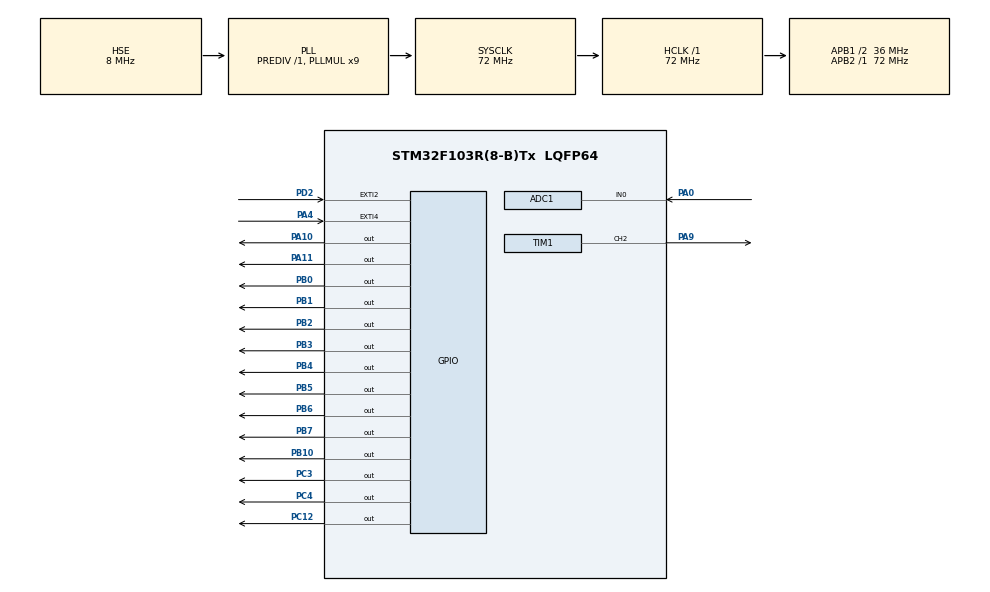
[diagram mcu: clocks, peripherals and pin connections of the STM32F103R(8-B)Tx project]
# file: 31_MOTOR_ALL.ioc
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ADC1.Channel-0\#ChannelRegularConversion=ADC_CHANNEL_0
ADC1.ContinuousConvMode=ENABLE
ADC1.NbrOfConversionFlag=1
ADC1.Rank-0\#ChannelRegularConversion=1
ADC1.SamplingTime-0\#ChannelRegularConversion=ADC_SAMPLETIME_13CYCLES_5
ADC1.master=1
Mcu.Family=STM32F1
Mcu.Name=STM32F103R(8-B)Tx
Mcu.Package=LQFP64
NVIC.EXTI2_IRQn=true\:0\:0\:false\:false\:true\:true\:true\:true
NVIC.EXTI4_IRQn=true\:0\:0\:false\:false\:true\:true\:true\:true
NVIC.PriorityGroup=NVIC_PRIORITYGROUP_4
PA0-WKUP.Signal=ADCx_IN0
PA10.Signal=GPIO_Output
PA11.Signal=GPIO_Output
PA13.Mode=Serial_Wire
PA13.Signal=SYS_JTMS-SWDIO
PA14.Mode=Serial_Wire
PA14.Signal=SYS_JTCK-SWCLK
PA4.GPIO_ModeDefaultEXTI=GPIO_MODE_IT_FALLING
PA4.Signal=GPXTI4
PA9.Signal=S_TIM1_CH2
PB0.Signal=GPIO_Output
PB1.Signal=GPIO_Output
PB10.Signal=GPIO_Output
PB2.Signal=GPIO_Output
PB3.Signal=GPIO_Output
PB4.Signal=GPIO_Output
PB5.Signal=GPIO_Output
PB6.Signal=GPIO_Output
PB7.Signal=GPIO_Output
PC12.Signal=GPIO_Output
PC14-OSC32_IN.Mode=LSE-External-Oscillator
PC14-OSC32_IN.Signal=RCC_OSC32_IN
PC15-OSC32_OUT.Mode=LSE-External-Oscillator
PC15-OSC32_OUT.Signal=RCC_OSC32_OUT
PC3.Signal=GPIO_Output
PC4.Signal=GPIO_Output
PD0-OSC_IN.Mode=HSE-External-Clock-Source
PD0-OSC_IN.Signal=RCC_OSC_IN
PD1-OSC_OUT.Mode=HSE-External-Clock-Source
PD1-OSC_OUT.Signal=RCC_OSC_OUT
PD2.GPIO_ModeDefaultEXTI=GPIO_MODE_IT_FALLING
PD2.Signal=GPXTI2
ProjectManager.HeapSize=0x200
ProjectManager.StackSize=0x400
ProjectManager.TargetToolchain=STM32CubeIDE
RCC.ADCPresc=RCC_ADCPCLK2_DIV6
RCC.AHBFreq_Value=72000000
RCC.APB1CLKDivider=RCC_HCLK_DIV2
RCC.APB1Freq_Value=36000000
RCC.APB1TimFreq_Value=72000000
RCC.APB2Freq_Value=72000000
RCC.APB2TimFreq_Value=72000000
RCC.HCLKFreq_Value=72000000
RCC.PLLMUL=RCC_PLL_MUL9
RCC.PLLSourceVirtual=RCC_PLLSOURCE_HSE
RCC.SYSCLKFreq_VALUE=72000000
RCC.SYSCLKSource=RCC_SYSCLKSOURCE_PLLCLK
RCC.USBFreq_Value=72000000
SH.ADCx_IN0.0=ADC1_IN0,IN0
SH.S_TIM1_CH2.0=TIM1_CH2,PWM Generation2 CH2
TIM1.AutoReloadPreload=TIM_AUTORELOAD_PRELOAD_ENABLE
TIM1.Channel-PWM\ Generation2\ CH2=TIM_CHANNEL_2
TIM1.Period=1000-1
TIM1.Prescaler=72-1
board=custom

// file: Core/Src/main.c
/* USER CODE BEGIN Header */
/**
  ******************************************************************************
  * @file           : main.c
  * @brief          : Main program body
  ******************************************************************************
  * @attention
  *
  * Copyright (c) 2023 STMicroelectronics.
  * All rights reserved.
  *
  * This software is licensed under terms that can be found in the LICENSE file
  * in the root directory of this software component.
  * If no LICENSE file comes with this software, it is provided AS-IS.
  *
  ******************************************************************************
  */
/* USER CODE END Header */
#include "main.h"

/* USER CODE BEGIN PD */
#define MOTOR_STOP 0
#define MOTOR_CW 1
#define MOTOR_CCW 2
/* USER CODE END PD */

ADC_HandleTypeDef hadc1;

TIM_HandleTypeDef htim1;

/* USER CODE BEGIN PV */
uint8_t number[] = {0x3f, 0x06, 0x5b, 0x4f, 0x66, 0x6d, 0x7d, 0x07, 0x7f, 0x67};
uint16_t motor_ccr2, adc_value;
volatile uint8_t motor_state = MOTOR_STOP;
volatile uint8_t cw_counter = 0, ccw_counter = 0;

typedef struct fnd { 	// 구조�?
  GPIO_TypeDef *port;
  uint16_t pin;
} FND;
FND value[8] = {
  {GPIOB, GPIO_PIN_0}, {GPIOB, GPIO_PIN_1},
  {GPIOB, GPIO_PIN_2}, {GPIOB, GPIO_PIN_3},
  {GPIOB, GPIO_PIN_4}, {GPIOB, GPIO_PIN_5},
  {GPIOB, GPIO_PIN_6}, {GPIOB, GPIO_PIN_7}
};
FND sel[4] = {
  {GPIOA, GPIO_PIN_10}, {GPIOA, GPIO_PIN_11},
  {GPIOC, GPIO_PIN_4}, {GPIOC, GPIO_PIN_3}
};
void display_fnd(uint8_t data, uint8_t position, uint32_t time) {  // ?��?��
  int i;
  for (i = 0; i < 4; i++) {
    if(i == position)
      HAL_GPIO_WritePin(sel[i].port, sel[i].pin, 1);
    else
      HAL_GPIO_WritePin(sel[i].port, sel[i].pin, 0);
  }
  for(i = 0; i < 8; i++) {
    if((data & (1 << i)) != 0)
      HAL_GPIO_WritePin(value[i].port, value[i].pin, 1);
    else
      HAL_GPIO_WritePin(value[i].port, value[i].pin, 0);
  }
  HAL_Delay(time);
}

/* USER CODE END PV */

void SystemClock_Config(void);
static void MX_GPIO_Init(void);
static void MX_ADC1_Init(void);
static void MX_TIM1_Init(void);

int main(void)
{

  /* MCU Configuration--------------------------------------------------------*/

  /* Reset of all peripherals, Initializes the Flash interface and the Systick. */
  HAL_Init();

  /* Configure the system clock */
  SystemClock_Config();

  /* Initialize all configured peripherals */
  MX_GPIO_Init();
  MX_ADC1_Init();
  MX_TIM1_Init();
  /* USER CODE BEGIN 2 */
  HAL_TIM_PWM_Start(&htim1, TIM_CHANNEL_2);
  HAL_ADCEx_Calibration_Start(&hadc1);
  HAL_ADC_Start(&hadc1);

  /* USER CODE END 2 */

  /* Infinite loop */
  /* USER CODE BEGIN WHILE */
  while (1)
  {
	  if(HAL_ADC_PollForConversion(&hadc1, 10) == HAL_OK) {
		  adc_value = HAL_ADC_GetValue(&hadc1);
	      if (adc_value < 1000) {
	    	  motor_state = MOTOR_STOP;
	      }
	  }
	  switch (motor_state) {
	  case MOTOR_STOP:
		  HAL_TIM_PWM_Stop(&htim1, TIM_CHANNEL_2);
		  ccw_counter = 0;
		  cw_counter = 0;
		  motor_ccr2 = 0;
		  __HAL_TIM_SET_COMPARE(&htim1, TIM_CHANNEL_2, motor_ccr2);
		  break;
	  case MOTOR_CW:
		  ccw_counter = 0;
		  HAL_GPIO_WritePin(GPIOB, GPIO_PIN_10, 1);
		  HAL_GPIO_WritePin(GPIOC, GPIO_PIN_12, 0);
		  HAL_TIM_PWM_Start(&htim1, TIM_CHANNEL_2);
		  if(cw_counter <= 5) {
			  motor_ccr2 = cw_counter * 100;
			  __HAL_TIM_SET_COMPARE(&htim1, TIM_CHANNEL_2, motor_ccr2);
		  } else {
			  motor_ccr2 = 500;
			  __HAL_TIM_SET_COMPARE(&htim1, TIM_CHANNEL_2, motor_ccr2);
		  }
		  break;
	  case MOTOR_CCW:
		  cw_counter = 0;
		  HAL_GPIO_WritePin(GPIOB, GPIO_PIN_10, 0);
		  HAL_GPIO_WritePin(GPIOC, GPIO_PIN_12, 1);
		  HAL_TIM_PWM_Start(&htim1, TIM_CHANNEL_2);
		  if(ccw_counter <= 5) {
			  motor_ccr2 = ccw_counter * 100;
			  __HAL_TIM_SET_COMPARE(&htim1, TIM_CHANNEL_2, motor_ccr2);
		  } else {
			  motor_ccr2 = 500;
			  __HAL_TIM_SET_COMPARE(&htim1, TIM_CHANNEL_2, motor_ccr2);
		  }
		  break;
	  default:
		  break;
	  }
	  display_fnd(number[motor_ccr2 / 100], 1, 5);
	  display_fnd(number[(motor_ccr2 % 100) / 10], 0, 5);

    /* USER CODE END WHILE */

  }
}

void SystemClock_Config(void)
{
  RCC_OscInitTypeDef RCC_OscInitStruct = {0};
  RCC_ClkInitTypeDef RCC_ClkInitStruct = {0};
  RCC_PeriphCLKInitTypeDef PeriphClkInit = {0};

  /** Initializes the RCC Oscillators according to the specified parameters
  * in the RCC_OscInitTypeDef structure.
  */
  RCC_OscInitStruct.OscillatorType = RCC_OSCILLATORTYPE_HSE;
  RCC_OscInitStruct.HSEState = RCC_HSE_BYPASS;
  RCC_OscInitStruct.HSEPredivValue = RCC_HSE_PREDIV_DIV1;
  RCC_OscInitStruct.HSIState = RCC_HSI_ON;
  RCC_OscInitStruct.PLL.PLLState = RCC_PLL_ON;
  RCC_OscInitStruct.PLL.PLLSource = RCC_PLLSOURCE_HSE;
  RCC_OscInitStruct.PLL.PLLMUL = RCC_PLL_MUL9;
  if (HAL_RCC_OscConfig(&RCC_OscInitStruct) != HAL_OK)
  {
    Error_Handler();
  }

  /** Initializes the CPU, AHB and APB buses clocks
  */
  RCC_ClkInitStruct.ClockType = RCC_CLOCKTYPE_HCLK|RCC_CLOCKTYPE_SYSCLK
                              |RCC_CLOCKTYPE_PCLK1|RCC_CLOCKTYPE_PCLK2;
  RCC_ClkInitStruct.SYSCLKSource = RCC_SYSCLKSOURCE_PLLCLK;
  RCC_ClkInitStruct.AHBCLKDivider = RCC_SYSCLK_DIV1;
  RCC_ClkInitStruct.APB1CLKDivider = RCC_HCLK_DIV2;
  RCC_ClkInitStruct.APB2CLKDivider = RCC_HCLK_DIV1;

  if (HAL_RCC_ClockConfig(&RCC_ClkInitStruct, FLASH_LATENCY_2) != HAL_OK)
  {
    Error_Handler();
  }
  PeriphClkInit.PeriphClockSelection = RCC_PERIPHCLK_ADC;
  PeriphClkInit.AdcClockSelection = RCC_ADCPCLK2_DIV6;
  if (HAL_RCCEx_PeriphCLKConfig(&PeriphClkInit) != HAL_OK)
  {
    Error_Handler();
  }
}

static void MX_ADC1_Init(void)
{

  ADC_ChannelConfTypeDef sConfig = {0};

  /** Common config
  */
  hadc1.Instance = ADC1;
  hadc1.Init.ScanConvMode = ADC_SCAN_DISABLE;
  hadc1.Init.ContinuousConvMode = ENABLE;
  hadc1.Init.DiscontinuousConvMode = DISABLE;
  hadc1.Init.ExternalTrigConv = ADC_SOFTWARE_START;
  hadc1.Init.DataAlign = ADC_DATAALIGN_RIGHT;
  hadc1.Init.NbrOfConversion = 1;
  if (HAL_ADC_Init(&hadc1) != HAL_OK)
  {
    Error_Handler();
  }

  /** Configure Regular Channel
  */
  sConfig.Channel = ADC_CHANNEL_0;
  sConfig.Rank = ADC_REGULAR_RANK_1;
  sConfig.SamplingTime = ADC_SAMPLETIME_13CYCLES_5;
  if (HAL_ADC_ConfigChannel(&hadc1, &sConfig) != HAL_OK)
  {
    Error_Handler();
  }

}

static void MX_TIM1_Init(void)
{

  TIM_MasterConfigTypeDef sMasterConfig = {0};
  TIM_OC_InitTypeDef sConfigOC = {0};
  TIM_BreakDeadTimeConfigTypeDef sBreakDeadTimeConfig = {0};

  htim1.Instance = TIM1;
  htim1.Init.Prescaler = 72-1;
  htim1.Init.CounterMode = TIM_COUNTERMODE_UP;
  htim1.Init.Period = 1000-1;
  htim1.Init.ClockDivision = TIM_CLOCKDIVISION_DIV1;
  htim1.Init.RepetitionCounter = 0;
  htim1.Init.AutoReloadPreload = TIM_AUTORELOAD_PRELOAD_ENABLE;
  if (HAL_TIM_PWM_Init(&htim1) != HAL_OK)
  {
    Error_Handler();
  }
  sMasterConfig.MasterOutputTrigger = TIM_TRGO_RESET;
  sMasterConfig.MasterSlaveMode = TIM_MASTERSLAVEMODE_DISABLE;
  if (HAL_TIMEx_MasterConfigSynchronization(&htim1, &sMasterConfig) != HAL_OK)
  {
    Error_Handler();
  }
  sConfigOC.OCMode = TIM_OCMODE_PWM1;
  sConfigOC.Pulse = 0;
  sConfigOC.OCPolarity = TIM_OCPOLARITY_HIGH;
  sConfigOC.OCNPolarity = TIM_OCNPOLARITY_HIGH;
  sConfigOC.OCFastMode = TIM_OCFAST_DISABLE;
  sConfigOC.OCIdleState = TIM_OCIDLESTATE_RESET;
  sConfigOC.OCNIdleState = TIM_OCNIDLESTATE_RESET;
  if (HAL_TIM_PWM_ConfigChannel(&htim1, &sConfigOC, TIM_CHANNEL_2) != HAL_OK)
  {
    Error_Handler();
  }
  sBreakDeadTimeConfig.OffStateRunMode = TIM_OSSR_DISABLE;
  sBreakDeadTimeConfig.OffStateIDLEMode = TIM_OSSI_DISABLE;
  sBreakDeadTimeConfig.LockLevel = TIM_LOCKLEVEL_OFF;
  sBreakDeadTimeConfig.DeadTime = 0;
  sBreakDeadTimeConfig.BreakState = TIM_BREAK_DISABLE;
  sBreakDeadTimeConfig.BreakPolarity = TIM_BREAKPOLARITY_HIGH;
  sBreakDeadTimeConfig.AutomaticOutput = TIM_AUTOMATICOUTPUT_DISABLE;
  if (HAL_TIMEx_ConfigBreakDeadTime(&htim1, &sBreakDeadTimeConfig) != HAL_OK)
  {
    Error_Handler();
  }
  HAL_TIM_MspPostInit(&htim1);

}

static void MX_GPIO_Init(void)
{
  GPIO_InitTypeDef GPIO_InitStruct = {0};

  /* GPIO Ports Clock Enable */
  __HAL_RCC_GPIOC_CLK_ENABLE();
  __HAL_RCC_GPIOD_CLK_ENABLE();
  __HAL_RCC_GPIOA_CLK_ENABLE();
  __HAL_RCC_GPIOB_CLK_ENABLE();

  /*Configure GPIO pin Output Level */
  HAL_GPIO_WritePin(GPIOC, GPIO_PIN_3|GPIO_PIN_4|GPIO_PIN_12, GPIO_PIN_RESET);

  /*Configure GPIO pin Output Level */
  HAL_GPIO_WritePin(GPIOB, GPIO_PIN_0|GPIO_PIN_1|GPIO_PIN_2|GPIO_PIN_10
                          |GPIO_PIN_3|GPIO_PIN_4|GPIO_PIN_5|GPIO_PIN_6
                          |GPIO_PIN_7, GPIO_PIN_RESET);

  /*Configure GPIO pin Output Level */
  HAL_GPIO_WritePin(GPIOA, GPIO_PIN_10|GPIO_PIN_11, GPIO_PIN_RESET);

  /*Configure GPIO pins : PC3 PC4 PC12 */
  GPIO_InitStruct.Pin = GPIO_PIN_3|GPIO_PIN_4|GPIO_PIN_12;
  GPIO_InitStruct.Mode = GPIO_MODE_OUTPUT_PP;
  GPIO_InitStruct.Pull = GPIO_NOPULL;
  GPIO_InitStruct.Speed = GPIO_SPEED_FREQ_LOW;
  HAL_GPIO_Init(GPIOC, &GPIO_InitStruct);

  /*Configure GPIO pin : PA4 */
  GPIO_InitStruct.Pin = GPIO_PIN_4;
  GPIO_InitStruct.Mode = GPIO_MODE_IT_FALLING;
  GPIO_InitStruct.Pull = GPIO_NOPULL;
  HAL_GPIO_Init(GPIOA, &GPIO_InitStruct);

  /*Configure GPIO pins : PB0 PB1 PB2 PB10
                           PB3 PB4 PB5 PB6
                           PB7 */
  GPIO_InitStruct.Pin = GPIO_PIN_0|GPIO_PIN_1|GPIO_PIN_2|GPIO_PIN_10
                          |GPIO_PIN_3|GPIO_PIN_4|GPIO_PIN_5|GPIO_PIN_6
                          |GPIO_PIN_7;
  GPIO_InitStruct.Mode = GPIO_MODE_OUTPUT_PP;
  GPIO_InitStruct.Pull = GPIO_NOPULL;
  GPIO_InitStruct.Speed = GPIO_SPEED_FREQ_LOW;
  HAL_GPIO_Init(GPIOB, &GPIO_InitStruct);

  /*Configure GPIO pins : PA10 PA11 */
  GPIO_InitStruct.Pin = GPIO_PIN_10|GPIO_PIN_11;
  GPIO_InitStruct.Mode = GPIO_MODE_OUTPUT_PP;
  GPIO_InitStruct.Pull = GPIO_NOPULL;
  GPIO_InitStruct.Speed = GPIO_SPEED_FREQ_LOW;
  HAL_GPIO_Init(GPIOA, &GPIO_InitStruct);

  /*Configure GPIO pin : PD2 */
  GPIO_InitStruct.Pin = GPIO_PIN_2;
  GPIO_InitStruct.Mode = GPIO_MODE_IT_FALLING;
  GPIO_InitStruct.Pull = GPIO_NOPULL;
  HAL_GPIO_Init(GPIOD, &GPIO_InitStruct);

  /* EXTI interrupt init*/
  HAL_NVIC_SetPriority(EXTI2_IRQn, 0, 0);
  HAL_NVIC_EnableIRQ(EXTI2_IRQn);

  HAL_NVIC_SetPriority(EXTI4_IRQn, 0, 0);
  HAL_NVIC_EnableIRQ(EXTI4_IRQn);

}

/* USER CODE BEGIN 4 */
void HAL_GPIO_EXTI_Callback(uint16_t GPIO_Pin) {
  if (!HAL_GPIO_ReadPin(GPIOD, GPIO_PIN_2)) {
    motor_state = MOTOR_CW;
    cw_counter++;
  }
  if (!HAL_GPIO_ReadPin(GPIOA, GPIO_PIN_4)) {
    motor_state = MOTOR_CCW;
    ccw_counter++;
  }
}
/* USER CODE END 4 */

void Error_Handler(void)
{
  __disable_irq();
  while (1)
  {
  }
}
